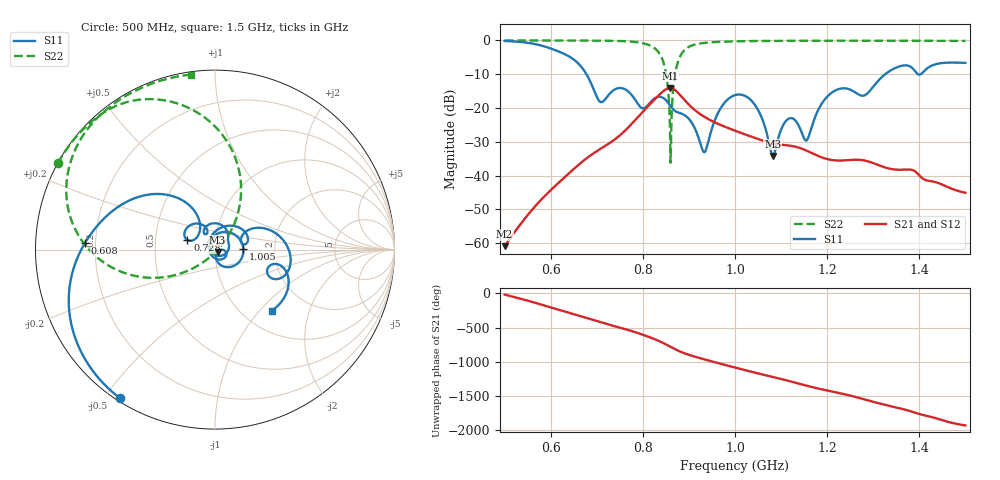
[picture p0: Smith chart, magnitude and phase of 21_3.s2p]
! TOUCHSTONE file generated by CST MICROWAVE STUDIO
! Date and time: Fri Oct  2 16:37:56 2020
! Project name: Scenario_1_Free_Space_out_of_line.cst
! Parameters = {Lambda=346.42; Step_1=17.321; dy1=0.82; dx1=520; L_HA=400; MT=2.54; Rad_Dielectric=30; Rad_Lower=7.3; Rad_Upper=30; a_HA=580; a_WG=246; b_HA=500; b_WG=121; c_HA=0; c_WG=187; d_feed=85; h_feed=15; h_lower=18; h_upper=40}
! Header version: 2018
! Port assignment regex: !\s*Touchstone port\s*([0-9]+)\s*=\s*(CST MWS port|CST DS port)\s*([0-9]+|Zmin|Zmax)\s*\(\"(.*)\"\)(\s*mode\s*([0-9]+))?.*
! Touchstone port assignment:
! Touchstone port 1 = CST MWS port 1 ("")
! Touchstone port 2 = CST MWS port 2 ("")
# GHz S DB R 50
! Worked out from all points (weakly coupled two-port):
!   1003 points, 500 MHz to 1.5 GHz, reference 50 ohm
!   highest |S21| = -14.09 dB at 859 MHz (marker M1); lowest = -60.9 dB at 500 MHz (marker M2)
!   lowest |S11| = -34.2 dB at 1.082 GHz (marker M3), VSWR 1.04, Z = 51.5 - j1.32 ohm
!   |S11| at or under -10 dB: 677.6 MHz to 1.326 GHz (648.4 MHz wide, 64.7 % of centre); 1.396883 GHz to 1.402948 GHz (6.065 MHz wide, 0.433 % of centre)
!   |S22| runs from -36.2 to 0.0 dB; largest |S21 - S12| = 8e-06
!   S11 on the Smith chart (normalised r, x): 500 MHz: 0.01, -0.55; 608 MHz: 0.16, +0.02; 728 MHz: 0.73, +0.08; 1.005 GHz: 1.37, +0.02; 1.5 GHz: 1.35, -1.17
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0.5  -0.15 -122.6  -60.89 -17.5  -60.89 -17.5  -0.01 151.1
0.608  -2.78 177.2  -43.29 138.8  -43.29 138.8  -0.02 143.5
0.667  -7.89 130.9  -36.07 21.1  -36.07 21.1  -0.04 138.3
0.706  -18.01 135.4  -32.27 -58.5  -32.27 -58.5  -0.08 134.1
0.728  -15.77 160.9  -30.37 -100.9  -30.37 -100.9  -0.11 131.1
0.834  -16.68 95.0  -16.31 25.4  -16.31 25.4  -3.48 88.6
0.849  -17.53 64.8  -14.55 -22.5  -14.55 -22.5  -8.80 66.4
0.859  -19.23 48.0  -14.09 -58.4  -14.09 -58.4  -26.61 35.2
0.881  -21.51 24.2  -16.17 -132.4  -16.17 -132.4  -4.68 -170.3
0.933  -33.10 -143.0  -22.55 114.5  -22.55 114.5  -0.74 153.7
0.966  -20.73 78.9  -24.86 54.4  -24.86 54.4  -0.42 145.7
1  -16.18 11.3  -26.72 -6.0  -26.72 -6.0  -0.27 140.3
1.005  -16.03 2.2  -26.97 -14.8  -26.97 -14.8  -0.25 139.6
1.047  -19.87 -65.2  -29.02 -87.1  -29.02 -87.1  -0.17 134.7
1.082  -34.21 -41.3  -30.50 -143.9  -30.50 -143.9  -0.13 131.3
1.115  -23.28 -22.7  -31.07 161.4  -31.07 161.4  -0.12 128.4
1.153  -29.58 -150.4  -32.48 92.0  -32.48 92.0  -0.10 125.3
1.167  -25.35 129.1  -33.36 68.1  -33.36 68.1  -0.10 124.2
1.211  -15.35 50.1  -35.40 2.6  -35.40 2.6  -0.09 120.8
1.281  -16.25 20.5  -35.53 -113.0  -35.53 -113.0  -0.09 115.5
1.334  -9.20 15.8  -37.91 155.2  -37.91 155.2  -0.09 111.5
1.5  -6.65 -47.0  -45.08 -134.0  -45.08 -134.0  -0.14 97.8
